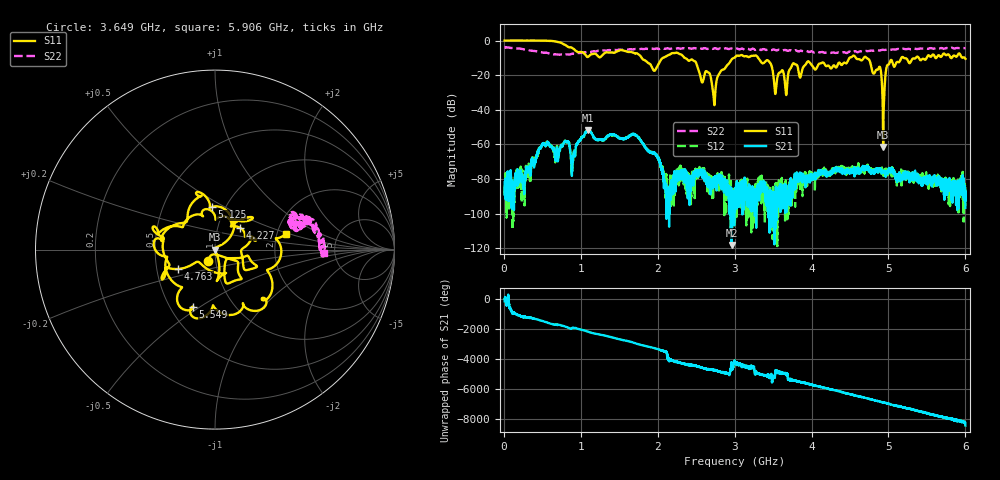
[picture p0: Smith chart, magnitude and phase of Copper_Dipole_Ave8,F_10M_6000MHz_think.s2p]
!  08/05/2026  14:07:27
! Ref Plane: 0.000 mm
# MHZ S MA R  50
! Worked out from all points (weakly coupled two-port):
!   4001 points, 10 MHz to 6 GHz, reference 50 ohm
!   highest |S21| = -51.64 dB at 1.096 GHz (marker M1); lowest = -118.1 dB at 2.96 GHz (marker M2)
!   lowest |S11| = -61.4 dB at 4.931 GHz (marker M3), VSWR 1.00, Z = 49.9 + j0.0471 ohm
!   |S11| at or under -10 dB: 2.35 GHz to 2.994 GHz (643.9 MHz wide, 24.1 % of centre); 3.306 GHz to 4.493 GHz (1.187 GHz wide, 30.4 % of centre); 4.715 GHz to 5.168 GHz (453.1 MHz wide, 9.17 % of centre)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
!   |S22| runs from -8.3 to -3.7 dB; largest |S21 - S12| = 0.00018
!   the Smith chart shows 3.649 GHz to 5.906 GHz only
!   S11 on the Smith chart (normalised r, x): 3.649 GHz: 0.92, -0.12; 4.227 GHz: 1.27, +0.32; 4.763 GHz: 0.65, -0.15; 5.125 GHz: 0.86, +0.43; 5.549 GHz: 0.65, -0.47; 5.906 GHz: 2.23, +0.47
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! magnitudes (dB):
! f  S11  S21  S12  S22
! 10 MHz  0.0  -82.0  -84.5  -3.7
! 258.6 MHz  0.0  -83.7  -78.6  -5.0
! 541.6 MHz  -0.1  -61.0  -61.0  -6.9
! 899.5 MHz  -4.6  -67.7  -69.6  -7.6
! 1.009 GHz  -6.7  -56.2  -56.1  -7.0
! 1.096 GHz  -9.4  -51.6  -51.7  -6.5
! 2.008 GHz  -13.9  -68.5  -68.4  -4.8
! 2.109 GHz  -9.1  -85.3  -90.3  -4.5
! 2.463 GHz  -11.5  -83.8  -80.6  -4.4
! 2.732 GHz  -35.6  -79.0  -79.7  -4.5
! 2.96 GHz  -10.9  -118.1  -86.6  -4.6
! 3.005 GHz  -9.6  -87.1  -94.3  -4.9
! 3.649 GHz  -22.4  -90.1  -93.1  -5.4
! 4.004 GHz  -14.2  -79.0  -78.2  -6.2
! 4.227 GHz  -14.7  -76.2  -77.6  -7.0
! 4.763 GHz  -12.7  -74.9  -75.3  -5.8
! 4.931 GHz  -61.4  -76.0  -76.3  -5.3
! 5.003 GHz  -13.8  -76.0  -75.1  -5.3
! 5.125 GHz  -12.5  -79.0  -78.1  -4.8
! 5.549 GHz  -9.4  -80.9  -80.3  -4.3
! 5.906 GHz  -7.9  -80.9  -80.0  -4.3
! 6 GHz  -10.5  -96.6  -83.6  -4.4
